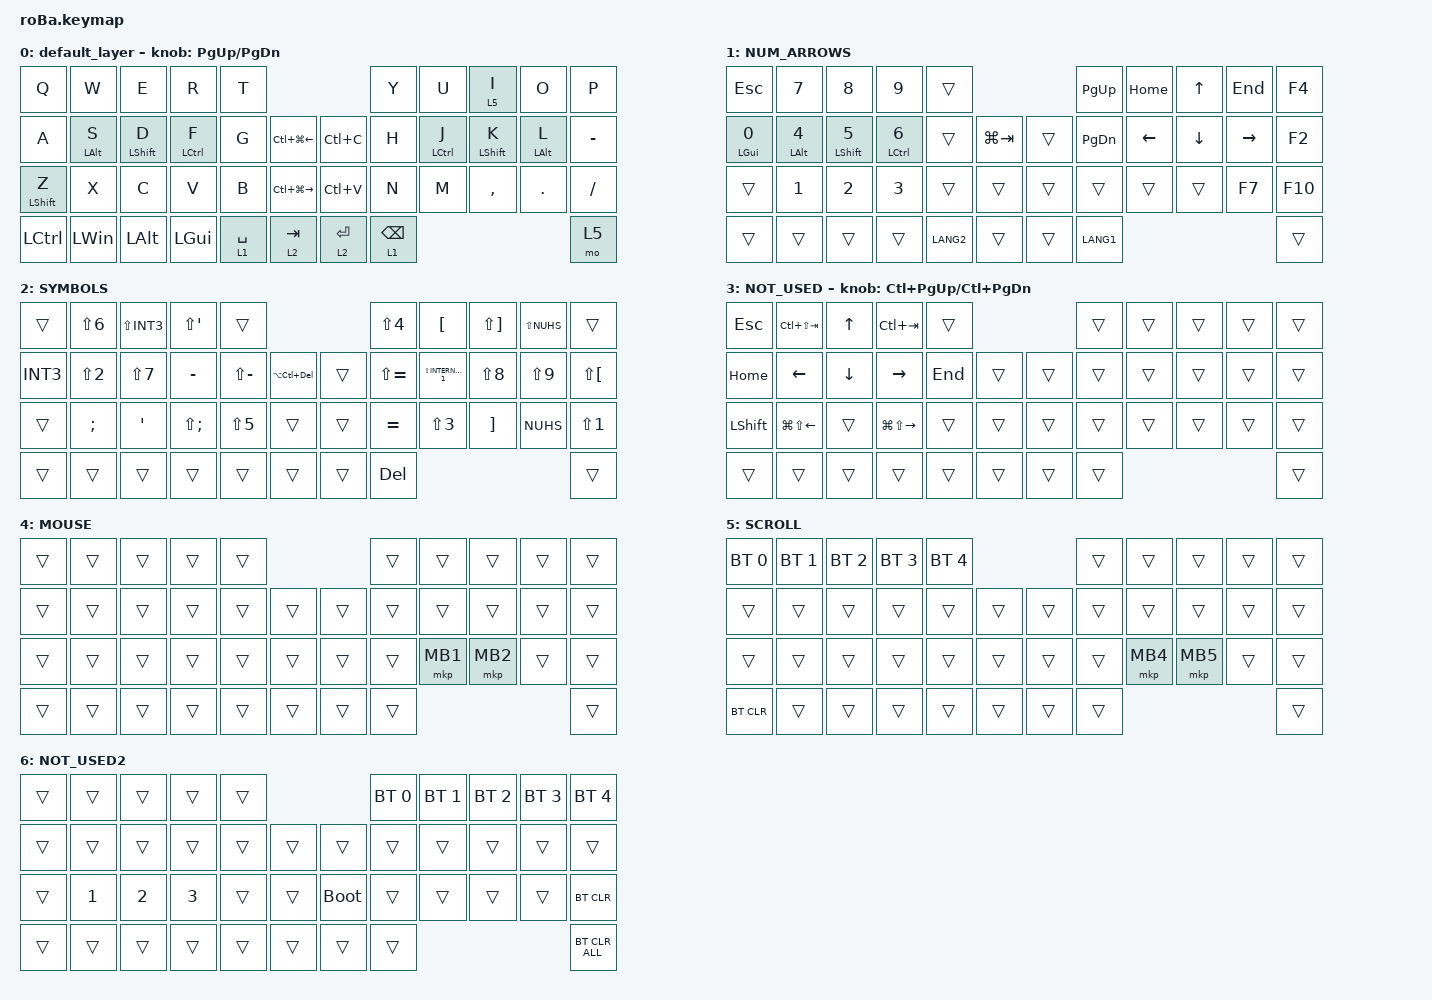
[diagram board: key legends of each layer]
#include <behaviors.dtsi>
#include <dt-bindings/zmk/bt.h>
#include <dt-bindings/zmk/keys.h>
#include <dt-bindings/zmk/pointing.h>

#define MOUSE 4
#define SCROLL 5
#define NUM 6

&mt {
    flavor = "tap-preferred";
    quick-tap-ms = <0>;
};

/ {
    combos { compatible = "zmk,combos"; };

    macros {
        to_layer_0: to_layer_0 {
            compatible = "zmk,behavior-macro-one-param";
            #binding-cells = <1>;
            bindings = <&to 0 &macro_param_1to1 &kp MACRO_PLACEHOLDER>;
            label = "TO_LAYER_0";
        };
    };

    behaviors {
        lt_to_layer_0: lt_to_layer_0 {
            compatible = "zmk,behavior-hold-tap";
            label = "LAYER_TAP_TO_0";
            bindings = <&mo>, <&to_layer_0>;

            #binding-cells = <2>;
            tapping-term-ms = <200>;
        };
    };

    keymap {
        compatible = "zmk,keymap";

        default_layer {
            bindings = <
&kp Q             &kp W           &kp E             &kp R         &kp T                                                  &kp Y            &kp U        &lt 5 I           &kp O           &kp P
&kp A             &mt LEFT_ALT S  &mt LEFT_SHIFT D  &mt LCTRL F   &kp G        &kp LC(LG(LEFT_ARROW))       &kp LC(C)    &kp H            &mt LCTRL J  &mt LEFT_SHIFT K  &mt LEFT_ALT L  &kp MINUS
&mt LEFT_SHIFT Z  &kp X           &kp C             &kp V         &kp B        &kp LC(LG(RIGHT_ARROW))      &kp LC(V)    &kp N            &kp M        &kp COMMA         &kp DOT         &kp SLASH
&kp LCTRL         &kp LEFT_WIN    &kp LEFT_ALT      &kp LEFT_GUI  &lt 1 SPACE  &lt 2 TAB                    &lt 2 ENTER  &lt 1 BACKSPACE                                                 &mo 5
            >;

            sensor-bindings = <&inc_dec_kp PG_UP PAGE_DOWN>;
        };

        NUM_ARROWS {
            bindings = <
&kp ESCAPE             &kp N7                 &kp NUMBER_8       &kp NUMBER_9        &trans                              &kp PAGE_UP    &kp HOME        &kp UP_ARROW    &kp END          &kp F4
&mt LEFT_GUI NUMBER_0  &mt LEFT_ALT NUMBER_4  &mt LEFT_SHIFT N5  &mt LCTRL NUMBER_6  &trans     &kp LG(TAB)      &trans  &kp PAGE_DOWN  &kp LEFT_ARROW  &kp DOWN_ARROW  &kp RIGHT_ARROW  &kp F2
&trans                 &kp NUMBER_1           &kp NUMBER_2       &kp NUMBER_3        &trans     &trans           &trans  &trans         &trans          &trans          &kp F7           &kp F10
&trans                 &trans                 &trans             &trans              &kp LANG2  &trans           &trans  &kp LANG1                                                       &trans
            >;
        };

        SYMBOLS {
            bindings = <
&trans    &kp LS(NUMBER_6)  &kp LS(INT3)      &kp LS(SQT)   &trans                                            &kp LS(NUMBER_4)  &kp LBKT                 &kp LS(RBKT)      &kp LS(NUHS)      &trans
&kp INT3  &kp LS(N2)        &kp LS(NUMBER_7)  &kp MINUS     &kp LS(MINUS)     &kp LA(LC(DELETE))      &trans  &kp LS(EQUAL)     &kp LS(INTERNATIONAL_1)  &kp LS(NUMBER_8)  &kp LS(NUMBER_9)  &kp LS(LBKT)
&trans    &kp SEMI          &kp SQT           &kp LS(SEMI)  &kp LS(NUMBER_5)  &trans                  &trans  &kp EQUAL         &kp LS(NUMBER_3)         &kp RBKT          &kp NUHS          &kp LS(NUMBER_1)
&trans    &trans            &trans            &trans        &trans            &trans                  &trans  &kp DEL                                                                        &trans
            >;
        };

        NOT_USED {
            bindings = <
&kp ESCAPE      &kp LC(LS(TAB))         &kp UP_ARROW    &kp LC(TAB)              &trans                       &trans  &trans  &trans  &trans  &trans
&kp HOME        &kp LEFT_ARROW          &kp DOWN_ARROW  &kp RIGHT_ARROW          &kp END  &trans      &trans  &trans  &trans  &trans  &trans  &trans
&kp LEFT_SHIFT  &kp LG(LS(LEFT_ARROW))  &trans          &kp LG(LS(RIGHT_ARROW))  &trans   &trans      &trans  &trans  &trans  &trans  &trans  &trans
&trans          &trans                  &trans          &trans                   &trans   &trans      &trans  &trans                          &trans
            >;

            sensor-bindings = <&inc_dec_kp LC(PAGE_UP) LC(PAGE_DOWN)>;
        };

        MOUSE {
            bindings = <
&trans  &trans  &trans  &trans  &trans                      &trans  &trans    &trans    &trans  &trans
&trans  &trans  &trans  &trans  &trans  &trans      &trans  &trans  &trans    &trans    &trans  &trans
&trans  &trans  &trans  &trans  &trans  &trans      &trans  &trans  &mkp MB1  &mkp MB2  &trans  &trans
&trans  &trans  &trans  &trans  &trans  &trans      &trans  &trans                              &trans
            >;
        };

        SCROLL {
            bindings = <
&bt BT_SEL 0  &bt BT_SEL 1  &bt BT_SEL 2  &bt BT_SEL 3  &bt BT_SEL 4                      &trans  &trans    &trans    &trans  &trans
&trans        &trans        &trans        &trans        &trans        &trans      &trans  &trans  &trans    &trans    &trans  &trans
&trans        &trans        &trans        &trans        &trans        &trans      &trans  &trans  &mkp MB4  &mkp MB5  &trans  &trans
&bt BT_CLR    &trans        &trans        &trans        &trans        &trans      &trans  &trans                              &trans
            >;
        };

        NOT_USED2 {
            bindings = <
&trans  &trans        &trans        &trans        &trans                           &bt BT_SEL 0  &bt BT_SEL 1  &bt BT_SEL 2  &bt BT_SEL 3  &bt BT_SEL 4
&trans  &trans        &trans        &trans        &trans  &trans      &trans       &trans        &trans        &trans        &trans        &trans
&trans  &kp NUMBER_1  &kp NUMBER_2  &kp NUMBER_3  &trans  &trans      &bootloader  &trans        &trans        &trans        &trans        &bt BT_CLR
&trans  &trans        &trans        &trans        &trans  &trans      &trans       &trans                                                  &bt BT_CLR_ALL
            >;
        };
    };
};
